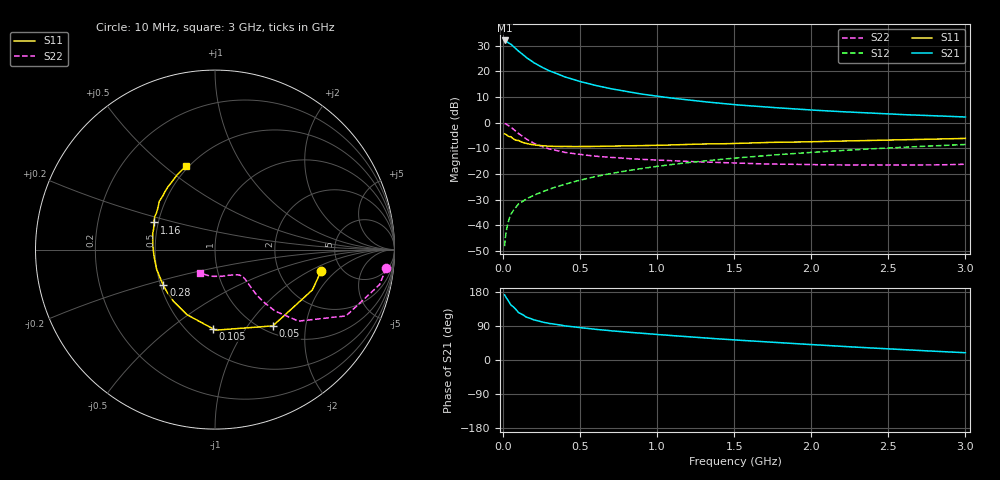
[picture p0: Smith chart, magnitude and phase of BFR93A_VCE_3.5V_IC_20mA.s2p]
! Infineon Technologies  Discrete & RF Semiconductors
! BFR93A
! VCE =  3.5 V,  IC =  20 mA
! Common Emitter S-Parameters:  Nov 2015
# GHz  S  MA  R  50
!  f  S11  S21  S12  S22
! GHz  MAG  ANG  MAG  ANG  MAG  ANG  MAG  ANG
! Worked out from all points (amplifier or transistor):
!   180 points, 10 MHz to 3 GHz, reference 50 ohm
!   highest |S21| = 32.0 dB at 10 MHz (marker M1)
!   |S21| within 3 dB of that: start of sweep to 78.45 MHz
!   unconditionally stable (mu >= 1): 420 MHz to 2.824 GHz
!   at 160 MHz: K = 0.70, MSG = 27.3 dB, |S12| = -29.5 dB
!   at 1.22 GHz: K = 1.08, MAG = 10.4 dB, |S12| = -15.5 dB
!   at 3 GHz: K = 0.99, MSG = 5.4 dB, |S12| = -8.5 dB
!   S11 on the Smith chart (normalised r, x): 10 MHz: 3.51, -1.31; 50 MHz: 1.12, -1.33; 105 MHz: 0.66, -0.72; 280 MHz: 0.52, -0.23; 1.16 GHz: 0.47, +0.17; 3 GHz: 0.48, +0.59
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0.01  0.6031 -11.4  39.92 172.0  0.0039 85.8  0.9597 -6.2
0.02  0.5873 -22.5  38.91 164.7  0.0075 79.9  0.9376 -12.0
0.05  0.5335 -52.8  33.87 145.6  0.0162 70.4  0.8184 -26.8
0.1  0.449 -89.5  24.82 125.2  0.0258 62.2  0.6125 -40.6
0.105  0.4406 -91.5  24.16 124.3  0.0264 62.0  0.5988 -41.0
0.15  0.3951 -113.0  18.61 113.2  0.0323 60.9  0.4775 -45.7
0.2  0.3693 -128.8  14.7 105.9  0.0382 62.0  0.3953 -47.2
0.24  0.3571 -138.0  12.58 101.7  0.043 63.0  0.3528 -47.4
0.26  0.3533 -142.0  11.69 99.7  0.0454 63.5  0.3351 -47.3
0.28  0.3495 -145.3  10.95 98.2  0.0478 64.0  0.321 -47.1
0.3  0.3469 -148.6  10.22 96.5  0.0502 64.5  0.3069 -46.8
0.4  0.3431 -161.8  7.782 90.1  0.0627 66.5  0.2625 -45.5
0.52  0.3415 -172.6  6.108 84.5  0.0782 67.5  0.2349 -44.5
0.6  0.3437 -178.4  5.303 81.0  0.0886 67.7  0.221 -44.3
0.7  0.3475 176.0  4.574 77.1  0.1018 67.6  0.2097 -44.8
0.8  0.3515 170.9  4.027 73.7  0.1145 67.4  0.2 -45.6
1.02  0.3615 161.0  3.205 66.7  0.1428 65.6  0.1856 -49.0
1.16  0.3721 156.0  2.853 62.6  0.1608 64.3  0.1772 -52.4
1.52  0.3929 144.2  2.215 52.5  0.2051 60.5  0.1615 -62.4
2.02  0.4258 131.0  1.746 40.3  0.2648 54.7  0.1513 -79.9
2.52  0.4564 119.8  1.465 29.0  0.3223 48.5  0.1491 -100.2
3  0.4917 109.4  1.286 19.2  0.3747 42.2  0.1543 -124.0
